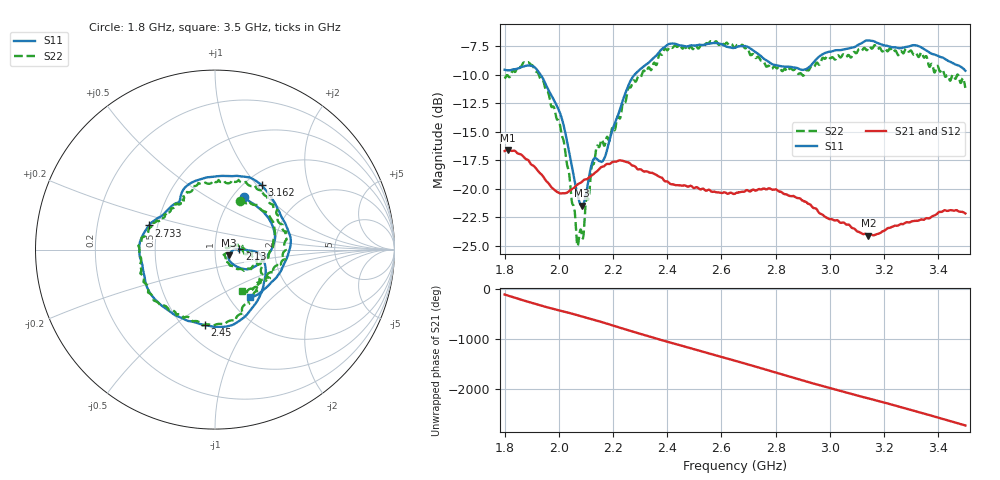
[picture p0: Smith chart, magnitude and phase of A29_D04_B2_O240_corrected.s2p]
! Created with skrf 1.9.0 (http://scikit-rf.org).
# Hz S RI R 50.0
!freq ReS11 ImS11 ReS21 ImS21 ReS12 ImS12 ReS22 ImS22
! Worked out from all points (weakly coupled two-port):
!   1601 points, 1.8 GHz to 3.5 GHz, reference 50 ohm
!   highest |S21| = -16.60 dB at 1.812 GHz (marker M1); lowest = -24.1 dB at 3.142 GHz (marker M2)
!   lowest |S11| = -21.5 dB at 2.085 GHz (marker M3), VSWR 1.18, Z = 58.3 - j3.83 ohm
!   |S11| at or under -10 dB: 1.933 GHz to 2.279 GHz (346.6 MHz wide, 16.5 % of centre)
!   |S22| runs from -25.0 to -7.1 dB; largest |S21 - S12| = 0.0023
!   S11 on the Smith chart (normalised r, x): 1.8 GHz: 1.13, +0.74; 2.13 GHz: 1.31, +0.00; 2.45 GHz: 0.63, -0.65; 2.733 GHz: 0.45, +0.14; 3.162 GHz: 1.19, +1.06; 3.5 GHz: 1.24, -0.74
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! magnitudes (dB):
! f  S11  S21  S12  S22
! 1.8 GHz  -9.6  -16.7  -16.7  -10.3
! 1.812 GHz  -9.6  -16.6  -16.6  -10.1
! 1.883 GHz  -9.2  -17.4  -17.4  -8.9
! 1.942 GHz  -10.4  -18.9  -18.9  -10.5
! 2.007 GHz  -13.5  -20.4  -20.4  -14.8
! 2.067 GHz  -20.3  -19.7  -19.7  -24.6
! 2.084 GHz  -21.5  -19.4  -19.4  -23.8
! 2.085 GHz  -21.5  -19.4  -19.4  -23.9
! 2.13 GHz  -17.3  -18.7  -18.6  -17.7
! 2.168 GHz  -17.3  -18.0  -18.0  -16.2
! 2.27 GHz  -10.3  -17.9  -17.9  -10.8
! 2.367 GHz  -8.1  -18.9  -18.8  -8.5
! 2.45 GHz  -7.4  -19.7  -19.7  -7.5
! 2.65 GHz  -7.6  -20.4  -20.4  -7.6
! 2.733 GHz  -8.1  -20.1  -20.1  -8.4
! 2.897 GHz  -9.6  -21.0  -21.0  -10.0
! 2.934 GHz  -9.1  -21.5  -21.5  -9.2
! 3.142 GHz  -7.0  -24.1  -24.0  -7.7
! 3.162 GHz  -7.1  -24.1  -24.0  -7.5
! 3.217 GHz  -7.5  -23.4  -23.4  -7.8
! 3.341 GHz  -7.7  -22.7  -22.7  -8.2
! 3.5 GHz  -9.7  -22.2  -22.1  -11.2
